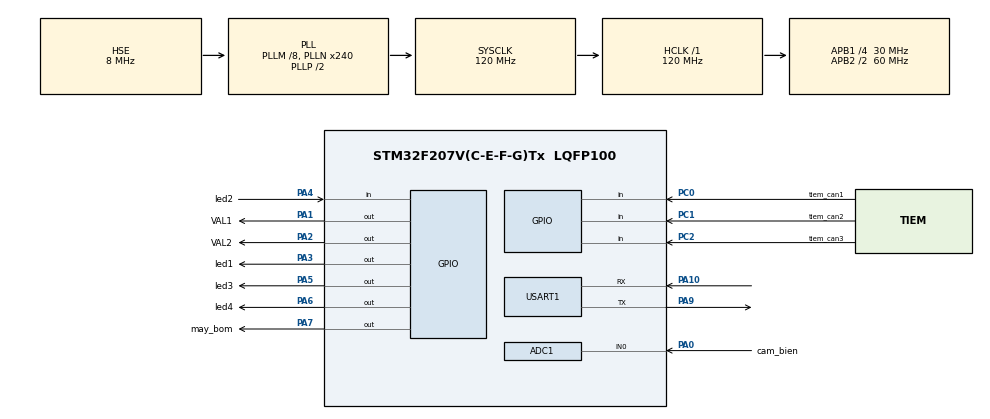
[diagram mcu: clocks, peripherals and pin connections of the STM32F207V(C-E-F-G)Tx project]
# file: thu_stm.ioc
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ADC1.Channel-0\#ChannelRegularConversion=ADC_CHANNEL_0
ADC1.ContinuousConvMode=ENABLE
ADC1.InjNumberOfConversion=0
ADC1.NbrOfConversion=1
ADC1.NbrOfConversionFlag=1
ADC1.Rank-0\#ChannelRegularConversion=1
ADC1.SamplingTime-0\#ChannelRegularConversion=ADC_SAMPLETIME_480CYCLES
ADC1.master=1
Mcu.Family=STM32F2
Mcu.Name=STM32F207V(C-E-F-G)Tx
Mcu.Package=LQFP100
NVIC.ADC_IRQn=true\:2\:0\:true\:false\:true\:true\:true\:true
NVIC.PriorityGroup=NVIC_PRIORITYGROUP_4
NVIC.USART1_IRQn=true\:1\:0\:true\:false\:true\:true\:true\:true
PA0-WKUP.GPIO_Label=cam_bien
PA0-WKUP.Signal=ADCx_IN0
PA1.GPIO_Label=VAL1
PA1.Signal=GPIO_Output
PA10.Mode=Asynchronous
PA10.Signal=USART1_RX
PA13.Mode=Serial_Wire
PA13.Signal=SYS_JTMS-SWDIO
PA14.Mode=Serial_Wire
PA14.Signal=SYS_JTCK-SWCLK
PA2.GPIO_Label=VAL2
PA2.Signal=GPIO_Output
PA3.GPIO_Label=led1
PA3.Signal=GPIO_Output
PA4.GPIO_Label=led2
PA4.Signal=GPIO_Input
PA5.GPIO_Label=led3
PA5.Signal=GPIO_Output
PA6.GPIO_Label=led4
PA6.Signal=GPIO_Output
PA7.GPIO_Label=may_bom
PA7.Signal=GPIO_Output
PA9.Mode=Asynchronous
PA9.Signal=USART1_TX
PC0.GPIO_Label=tiem_can1
PC0.Signal=GPIO_Input
PC1.GPIO_Label=tiem_can2
PC1.Signal=GPIO_Input
PC2.GPIO_Label=tiem_can3
PC2.Signal=GPIO_Input
PH0-OSC_IN.Mode=HSE-External-Oscillator
PH0-OSC_IN.Signal=RCC_OSC_IN
PH1-OSC_OUT.Mode=HSE-External-Oscillator
PH1-OSC_OUT.Signal=RCC_OSC_OUT
ProjectManager.HeapSize=0x200
ProjectManager.StackSize=0x400
ProjectManager.TargetToolchain=MDK-ARM V5.32
RCC.48MHZClocksFreq_Value=60000000
RCC.AHBFreq_Value=120000000
RCC.APB1CLKDivider=RCC_HCLK_DIV4
RCC.APB1Freq_Value=30000000
RCC.APB1TimFreq_Value=60000000
RCC.APB2CLKDivider=RCC_HCLK_DIV2
RCC.APB2Freq_Value=60000000
RCC.APB2TimFreq_Value=120000000
RCC.CortexFreq_Value=120000000
RCC.HCLKFreq_Value=120000000
RCC.HSE_VALUE=8000000
RCC.HSI_VALUE=16000000
RCC.LSE_VALUE=32768
RCC.PLLM=8
RCC.PLLN=240
RCC.PLLSourceVirtual=RCC_PLLSOURCE_HSE
RCC.SYSCLKFreq_VALUE=120000000
RCC.SYSCLKSource=RCC_SYSCLKSOURCE_PLLCLK
RCC.VCOOutputFreq_Value=240000000
SH.ADCx_IN0.0=ADC1_IN0,IN0
USART1.VirtualMode=VM_ASYNC
board=custom

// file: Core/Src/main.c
/* USER CODE BEGIN Header */
/**
  ******************************************************************************
  * @file           : main.c
  * @brief          : Main program body
  ******************************************************************************
  * @attention
  *
  * Copyright (c) 2022 STMicroelectronics.
  * All rights reserved.
  *
  * This software is licensed under terms that can be found in the LICENSE file
  * in the root directory of this software component.
  * If no LICENSE file comes with this software, it is provided AS-IS.
  *
  ******************************************************************************
  */
/* USER CODE END Header */
#include "main.h"
#include "adc.h"
#include "usart.h"
#include "gpio.h"

/* USER CODE BEGIN Includes */
#include "SimpleKalmanFilter.h"
#include "string.h"
#include "stdio.h"
/* USER CODE END Includes */

/* USER CODE BEGIN PTD */
#define mang_tiem_can1 HAL_GPIO_ReadPin(tiem_can1_GPIO_Port,tiem_can1_Pin);// tiem can trai nhin doi dien
#define mang_tiem_can2 HAL_GPIO_ReadPin(tiem_can2_GPIO_Port,tiem_can2_Pin);// tiem can giua
#define mang_tiem_can3 HAL_GPIO_ReadPin(tiem_can3_GPIO_Port,tiem_can3_Pin);// tiem can phai
//uint8_t mang_tiem_can[3]={mang_tiem_can,mang_tiem_can2,mang_tiem_can3};
volatile uint32_t ADC_value1,adc_kalman;
SimpleKalmanFilter adc = SimpleKalmanFilter(2,2,0.01);
uint8_t gia_tri_tiem_cam, gia_tri2,gia_tri3;
char pData[]= "{\"luc\":";

char dau_ngoac[]="}";
//uint8_t data_adc[10];

float max;
int i=0;
/* USER CODE END PTD */

/* USER CODE BEGIN PD */

uint8_t tiem_can()
{
	uint8_t dich_trai, gia_tri;
    dich_trai = 0;
	  gia_tri=0;
		gia_tri   = mang_tiem_can1;
	  dich_trai = dich_trai |(gia_tri<< 2);
	  gia_tri   = mang_tiem_can2;
	  dich_trai = dich_trai |(gia_tri<<1);
	  gia_tri   = mang_tiem_can3;
	  dich_trai = dich_trai | gia_tri;
	  return dich_trai;
}
uint32_t read_average(uint32_t value) {
   static uint32_t sum = 0;
   static uint32_t store[16];
   static char pos=0;
   static int start_calc=0;
   if(start_calc)
      {sum=sum-store[pos];}
   sum=sum+value;
   store[pos]=value;
   pos++;
   if(pos>7)
      {
      pos=0;
      start_calc=1;
      }
   return sum>>3;

}
void HAL_ADC_ConvCpltCallback(ADC_HandleTypeDef* hadc)
{
 if(hadc->Instance == hadc1.Instance)
 {
   ADC_value1 = HAL_ADC_GetValue(&hadc1);
	// adc_kalman = read_average(adc.updateEstimate(ADC_value1));
 }
}
/* USER CODE END PD */

void SystemClock_Config(void);

/* USER CODE BEGIN 0 */

int vi_tri()
{
	int vi_tri_dam;
	if(tiem_can()==2)
	{
		vi_tri_dam=2;
	}
	else if(tiem_can()==4)
	{
		vi_tri_dam=4;
	}
	else if(tiem_can()==1)
	{
		vi_tri_dam=1;
	}
	else
	{
		vi_tri_dam=0;
	}
	return vi_tri_dam;
}

/* USER CODE END 0 */

int main(void)
{

  /* MCU Configuration--------------------------------------------------------*/

  /* Reset of all peripherals, Initializes the Flash interface and the Systick. */
  HAL_Init();

  /* Configure the system clock */
  SystemClock_Config();

  /* Initialize all configured peripherals */
  MX_GPIO_Init();
  MX_ADC1_Init();
  MX_USART1_UART_Init();
  /* USER CODE BEGIN 2 */
  HAL_ADC_Start_IT(&hadc1);
  // HAL_ADC_Start(&hadc1);
  /* USER CODE END 2 */

  /* Infinite loop */
  while (1)
  {

    /* USER CODE BEGIN 3 */

		gia_tri2 = tiem_can();
		if(gia_tri2 !=0)
		{
			gia_tri_tiem_cam=1;
			adc_kalman = read_average(adc.updateEstimate(ADC_value1));
			if(adc_kalman > max)max=adc_kalman;
			gia_tri3 =  gia_tri2;
		}
		else
		{
			if(gia_tri_tiem_cam == 1)
			{
				char data_adc[5],data_position[5];
        char chuoi_trung_gian[30];
				sprintf(data_adc,"%f",max);
		    sprintf(data_position,"%d",gia_tri3);
		    strcpy(chuoi_trung_gian,pData);
				strcat(chuoi_trung_gian,data_adc);
		    strcat(chuoi_trung_gian,",\"position\":");
		    strcat(chuoi_trung_gian,data_position);
				strcat(chuoi_trung_gian,dau_ngoac);
				HAL_UART_Transmit(&huart1, (uint8_t *)chuoi_trung_gian,strlen((char *)chuoi_trung_gian),100);
				max=0;

			}
			gia_tri_tiem_cam =0;
		}
		adc_kalman = read_average(adc.updateEstimate(ADC_value1));
  }
  /* USER CODE END 3 */
}

void SystemClock_Config(void)
{
  RCC_OscInitTypeDef RCC_OscInitStruct = {0};
  RCC_ClkInitTypeDef RCC_ClkInitStruct = {0};

  /** Initializes the RCC Oscillators according to the specified parameters
  * in the RCC_OscInitTypeDef structure.
  */
  RCC_OscInitStruct.OscillatorType = RCC_OSCILLATORTYPE_HSE;
  RCC_OscInitStruct.HSEState = RCC_HSE_ON;
  RCC_OscInitStruct.PLL.PLLState = RCC_PLL_ON;
  RCC_OscInitStruct.PLL.PLLSource = RCC_PLLSOURCE_HSE;
  RCC_OscInitStruct.PLL.PLLM = 8;
  RCC_OscInitStruct.PLL.PLLN = 240;
  RCC_OscInitStruct.PLL.PLLP = RCC_PLLP_DIV2;
  RCC_OscInitStruct.PLL.PLLQ = 4;
  if (HAL_RCC_OscConfig(&RCC_OscInitStruct) != HAL_OK)
  {
    Error_Handler();
  }

  /** Initializes the CPU, AHB and APB buses clocks
  */
  RCC_ClkInitStruct.ClockType = RCC_CLOCKTYPE_HCLK|RCC_CLOCKTYPE_SYSCLK
                              |RCC_CLOCKTYPE_PCLK1|RCC_CLOCKTYPE_PCLK2;
  RCC_ClkInitStruct.SYSCLKSource = RCC_SYSCLKSOURCE_PLLCLK;
  RCC_ClkInitStruct.AHBCLKDivider = RCC_SYSCLK_DIV1;
  RCC_ClkInitStruct.APB1CLKDivider = RCC_HCLK_DIV4;
  RCC_ClkInitStruct.APB2CLKDivider = RCC_HCLK_DIV2;

  if (HAL_RCC_ClockConfig(&RCC_ClkInitStruct, FLASH_LATENCY_3) != HAL_OK)
  {
    Error_Handler();
  }
}

void Error_Handler(void)
{
  __disable_irq();
  while (1)
  {
  }
}
